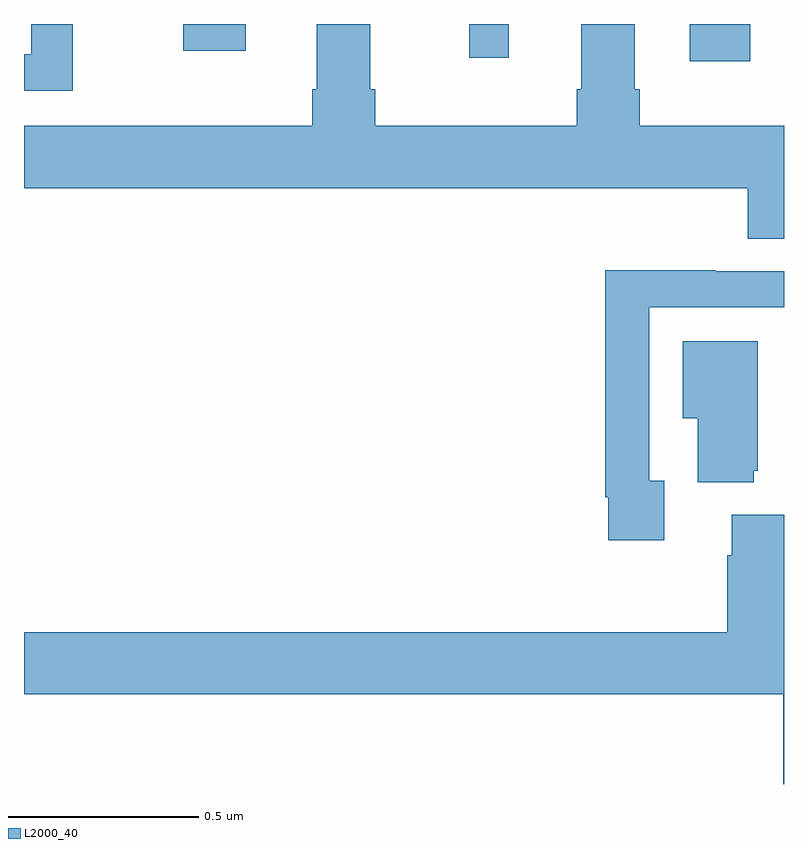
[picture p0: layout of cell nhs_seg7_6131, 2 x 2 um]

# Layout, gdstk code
import gdstk
lib = gdstk.Library(unit=1e-6, precision=1e-09)
def R(c, l, rs):  # rectangles x0, y0, x1, y1
    for r in rs: c.add(gdstk.rectangle(r[:2], r[2:], *l))
def P(c, l, *ps):  # polygons
    for p in ps: c.add(gdstk.Polygon(p, *l))
L2000_40 = (2000, 40)

nhs_seg7_6131 = lib.new_cell('nhs_seg7_6131')
R(nhs_seg7_6131, L2000_40, [(195.752,1048.902,195.911,1049), (195.172,1048.911,195.275,1049), (194.419,1048.929,194.584,1049)])
P(nhs_seg7_6131, L2000_40, [(196,1048.732),(195.62,1048.732),(195.62,1048.828),(195.607,1048.828),(195.607,1049),(195.467,1049),(195.467,1048.828),(195.455,1048.828),(195.455,1048.732),(194.924,1048.732),(194.924,1048.828),(194.911,1048.828),(194.911,1049),(194.771,1049),(194.771,1048.828),(194.759,1048.828),(194.759,1048.732),(194,1048.732),(194,1048.568),(195.905,1048.568),(195.905,1048.435),(196,1048.435)],
  [(194.128,1049),(194.019,1049),(194.019,1048.92),(194,1048.92),(194,1048.824),(194.128,1048.824)],
  [(195.685,1047.798),(195.645,1047.798),(195.645,1048.254),(196,1048.254),(196,1048.35),(195.821,1048.35),(195.821,1048.352),(195.529,1048.352),(195.529,1047.754),(195.537,1047.754),(195.537,1047.642),(195.685,1047.642)],
  [(195.92,1047.825),(195.931,1047.825),(195.931,1048.165),(195.734,1048.165),(195.734,1047.962),(195.773,1047.962),(195.773,1047.794),(195.92,1047.794)],
  [(196,1047.709),(195.863,1047.709),(195.863,1047.602),(195.851,1047.602),(195.851,1047.4),(194,1047.4),(194,1047.236),(195.998,1047.236),(195.998,1047),(196,1047)])

lib.write_gds('nhs_seg7_6131.gds')
